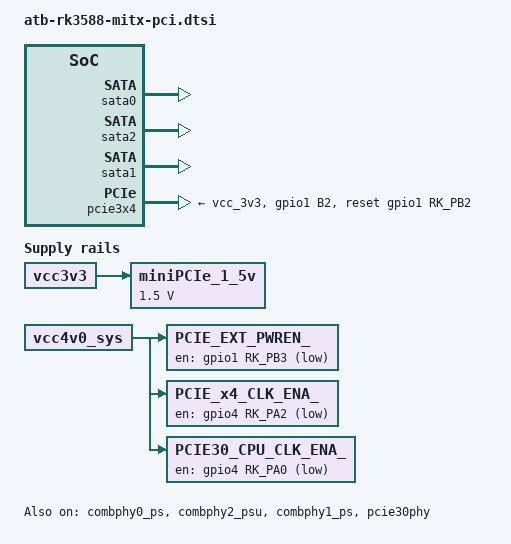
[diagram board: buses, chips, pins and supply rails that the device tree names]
/*
connector X18 - SATA_HDD
	SATA30_0
*/

/*
connector X21 - miniPCIe
	PCIE20_2 vs SATA30_2
	reset - GPIO4_C1
*/

/*
connector X20 - M.2 Key B
	multiplexed with
connector X38 - miniPCIe

	multiplexor D45
		jumper X37 on: X38 - miniPCIe
		jumper X37 off: X20 - M.2 Key B

	PCIE20_1 vs SATA30_1
	reset - GPIO1_A2
*/

/*
connector X22 - PCIe x4
	PCIE30_0
	PCIE30_1
	PCIE30_2
	PCIE30_3
	reset - GPIO1_B2
*/

//------------------------------------------------------------------------------

// Rockchip RK3588 TRM V1.0-Part1-20220309.pdf
// Chapter 16 Multiple Protocol PHY Subsystem
// 16.2 Block Diagram

/*
Combo PIPE PHY0 - 0xFEE00000
	combphy0_ps
		pcie2x1l2 (PCIE20_0)
		sata0 (SATA30_0)

Combo PIPE PHY1 - 0xFEE10000
	combphy1_ps:
		pcie2x1l0 (PCIE20_1)
		sata1 (SATA30_1)


Combo PIPE PHY2 - 0xFEE20000
	combphy2_psu:
		pcie2x1l1 (PCIE20_2)
		sata2 (SATA30_2)
		usbhost3_0
			usbhost_dwc3_0

PCIe 3.0 (PHY 0 + PHY 1)
	pcie30phy:
		pcie3x2
		pcie3x4
*/

//------------------------------------------------------------------------------

#include "dt-bindings/phy/phy-snps-pcie3.h"

/ {
	// D25
	miniPCIe_1_5v: miniPCIe_1_5v {
		compatible = "regulator-fixed";
		regulator-name = "vcc_miniPCIe_1_5v";
		regulator-always-on;
		regulator-boot-on;
		regulator-min-microvolt = <1500000>;
		regulator-max-microvolt = <1500000>;
		vin-supply = <&vcc3v3>;
	};

	// Pcie host power.
	PCIE_EXT_PWREN_: PCIE_EXT_PWREN_ {
		compatible = "regulator-fixed";
		regulator-name = "PCIE_EXT_PWREN_";
		regulator-boot-on;
		regulator-always-on;
		enable-active-low;
		gpios = <&gpio1 RK_PB3 GPIO_ACTIVE_LOW>;
		vin-supply = <&vcc4v0_sys>;
		status = "okay";
	};

	// Pcie host clock.
	PCIE_x4_CLK_ENA_: PCIE_x4_CLK_ENA_ {
		compatible = "regulator-fixed";
		regulator-name = "PCIE_x4_CLK_ENA_";
		regulator-boot-on;
		regulator-always-on;
		enable-active-low;
		gpios = <&gpio4 RK_PA2 GPIO_ACTIVE_LOW>;
		vin-supply = <&vcc4v0_sys>;
		status = "okay";
	};

	// Pcie host clock.
	PCIE30_CPU_CLK_ENA_: PCIE30_CPU_CLK_ENA_ {
		compatible = "regulator-fixed";
		regulator-name = "PCIE30_CPU_CLK_ENA_";
		regulator-boot-on;
		regulator-always-on;
		enable-active-low;
		gpios = <&gpio4 RK_PA0 GPIO_ACTIVE_LOW>;
		vin-supply = <&vcc4v0_sys>;
		status = "okay";
	};
};

&pinctrl {
	pcie {
		// M2kB_PCIE_RSTn
		pcie20_phy1_reset: pcie20-phy1-reset {
			rockchip,pins = <1 RK_PA2 RK_FUNC_GPIO &pcfg_pull_none>;
		};

		// miniPCIe_RST_
		pcie20_phy2_reset: pcie20-phy2-reset {
			rockchip,pins = <4 RK_PC1 RK_FUNC_GPIO &pcfg_pull_none>;
		};

		// PCIe_RST_
		pcie30_reset: pcie30-reset {
			rockchip,pins = <1 RK_PB2 RK_FUNC_GPIO &pcfg_pull_none>;
		};
	};
};


//==============================================================================
// connector X18 - SATA_HDD
//==============================================================================

// Combo PIPE PHY0 - 0xFEE00000
// 	combphy0_ps
// 		pcie2x1l2 (PCIE20_0)
// 		sata0 (SATA30_0)

&combphy0_ps {
	status = "okay";
};

&pcie2x1l2 {
	status = "disabled";
};

&sata0 {
	status = "okay";
};

//==============================================================================
// connector X21 - miniPCIe
//==============================================================================

// Combo PIPE PHY2 - 0xFEE20000
// 	combphy2_psu:
// 		pcie2x1l1 (PCIE20_2)
// 		sata2 (SATA30_2)
// 		usbhost3_0
// 			usbhost_dwc3_0

&combphy2_psu {
	status = "okay";
};

// YOU SHOULD ENABLE ONLY ONE: SATA OR PCI

&pcie2x1l1 {
	vpcie3v3-supply = <&vcc_3v3>;
	pinctrl-names = "default";
	pinctrl-0 = <&pcie20_phy2_reset>;
	reset-gpios = <&gpio4 RK_PC1 GPIO_ACTIVE_HIGH>;
	// status = "okay";
	status = "disabled";
};

&sata2 {
	status = "okay";
	// status = "disabled";
};

// disable unused USB on this ComboPHY
&usbhost3_0 {
	status = "disabled";
};

&usbhost_dwc3_0 {
	status = "disabled";
};

//==============================================================================
// connector X20 - M.2 Key B
// 	multiplexed with
// connector X38 - miniPCIe
//==============================================================================

// Combo PIPE PHY1 - 0xFEE10000
// 	combphy1_ps:
// 		pcie2x1l0 (PCIE20_1)
// 		sata1 (SATA30_1)

&combphy1_ps {
	status = "okay";
};

// YOU SHOULD ENABLE ONLY ONE: SATA OR PCI

&pcie2x1l0 {
	vpcie3v3-supply = <&vcc_3v3>;
	pinctrl-names = "default";
	pinctrl-0 = <&pcie20_phy1_reset>;
	reset-gpios = <&gpio1 RK_PA2 GPIO_ACTIVE_HIGH>;
	// status = "okay";
	status = "disabled";
};

&sata1 {
	status = "okay";
	// status = "disabled";
};

//==============================================================================
// connector X22 - PCIe x4
//==============================================================================

// PCIe 3.0 (PHY 0 + PHY 1)
// 	pcie30phy:
// 		pcie3x2
// 		pcie3x4


&pcie30phy {
// PHY_MODE_PCIE_AGGREGATION     PCIe3x4
// PHY_MODE_PCIE_NANBNB          P1:PCIe3x2  +  P0:PCIe3x2
// PHY_MODE_PCIE_NANBBI          P1:PCIe3x2  +  P0:PCIe3x1*2
// PHY_MODE_PCIE_NABINB          P1:PCIe3x1*2 + P0:PCIe3x2
// PHY_MODE_PCIE_NABIBI          P1:PCIe3x1*2 + P0:PCIe3x1*2
	rockchip,pcie30-phymode = <PHY_MODE_PCIE_AGGREGATION>;   
	status = "okay";
};

&pcie3x4 {
	vpcie3v3-supply = <&vcc_3v3>;
	pinctrl-names = "default";
	pinctrl-0 = <&pcie30_reset>;
	reset-gpios = <&gpio1 RK_PB2 GPIO_ACTIVE_HIGH>;
	status = "okay";
};

&pcie3x2 {
	vpcie3v3-supply = <&vcc_3v3>;
	status = "disabled";
};
